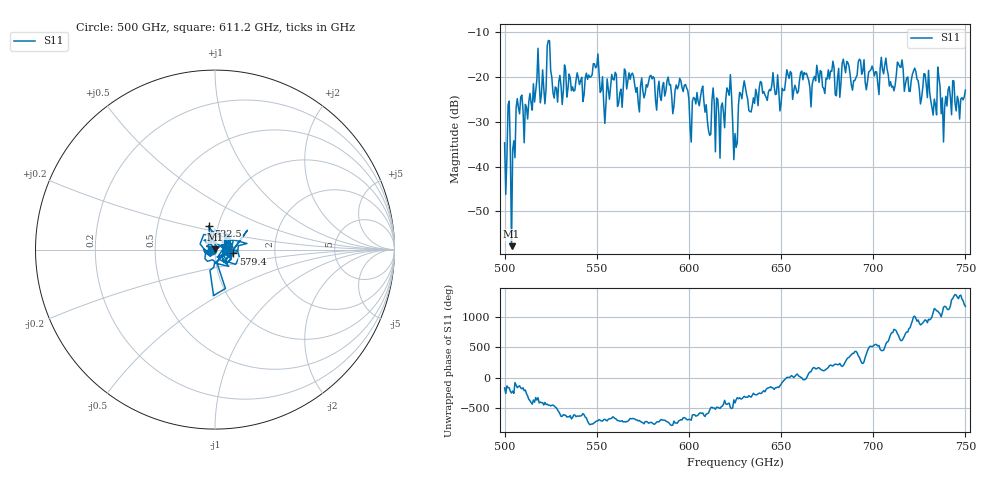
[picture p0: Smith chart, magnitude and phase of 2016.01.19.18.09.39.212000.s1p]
!Created with skrf (http://scikit-rf.org).
# GHz S RI R 50.0
!freq ReS11 ImS11
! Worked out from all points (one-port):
!   401 points, 500 GHz to 750 GHz, reference 50 ohm
!   lowest |S11| = -57.8 dB at 503.8 GHz (marker M1), VSWR 1.00, Z = 50 + j0.123 ohm
!   |S11| at or under -10 dB: start of sweep to end of sweep
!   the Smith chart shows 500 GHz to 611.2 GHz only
!   S11 on the Smith chart (normalised r, x): 500 GHz: 0.96, -0.01; 532.5 GHz: 0.90, +0.24; 579.4 GHz: 1.23, -0.05; 611.2 GHz: 0.96, -0.00
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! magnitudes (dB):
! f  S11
! 500 GHz  -34.7
! 503.8 GHz  -57.8
! 504.4 GHz  -36.3
! 507.5 GHz  -26.8
! 520.6 GHz  -18.4
! 524.4 GHz  -11.9
! 527.5 GHz  -22.2
! 531.2 GHz  -26.1
! 532.5 GHz  -17.3
! 549.4 GHz  -17.9
! 553.8 GHz  -25.6
! 559.4 GHz  -20.6
! 562.5 GHz  -23.6
! 579.4 GHz  -19.6
! 593.8 GHz  -22.6
! 611.2 GHz  -33.0
! 618.1 GHz  -25.8
! 621.9 GHz  -24.0
! 625 GHz  -32.6
! 628.8 GHz  -24.8
! 656.2 GHz  -25.0
! 687.5 GHz  -19.6
! 718.8 GHz  -20.0
! 728.8 GHz  -21.6
! 733.1 GHz  -24.9
! 736.2 GHz  -22.1
! 738.1 GHz  -34.5
! 750 GHz  -22.9
